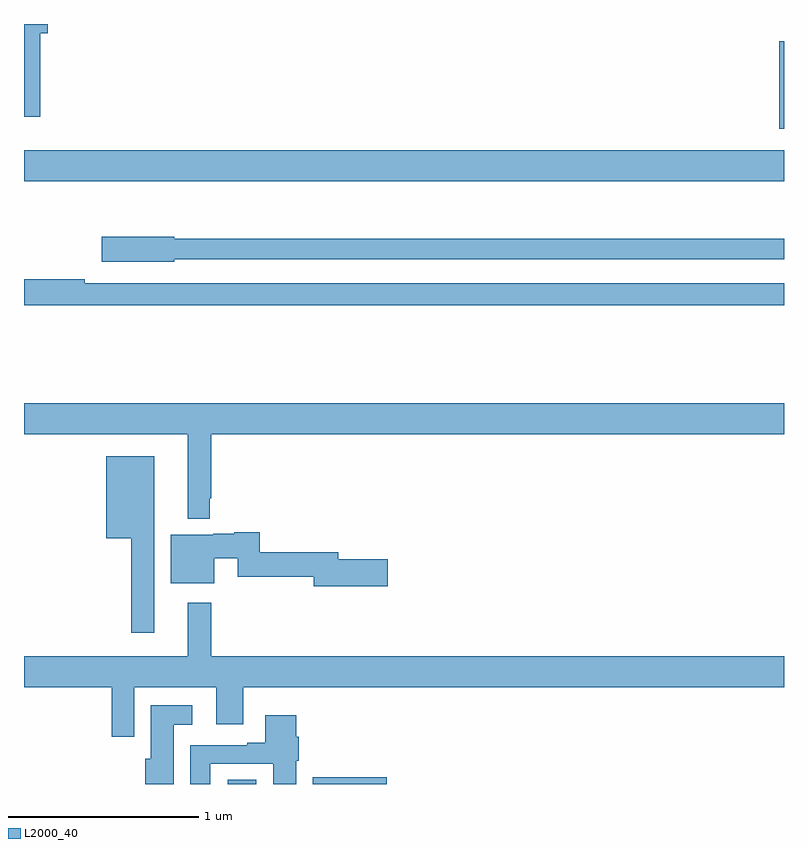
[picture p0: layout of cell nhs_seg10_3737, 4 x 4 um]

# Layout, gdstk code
import gdstk
lib = gdstk.Library(unit=1e-6, precision=1e-09)
def R(c, l, rs):  # rectangles x0, y0, x1, y1
    for r in rs: c.add(gdstk.rectangle(r[:2], r[2:], *l))
def P(c, l, *ps):  # polygons
    for p in ps: c.add(gdstk.Polygon(p, *l))
L2000_40 = (2000, 40)

nhs_seg10_3737 = lib.new_cell('nhs_seg10_3737')
R(nhs_seg10_3737, L2000_40, [(316.073,1274.5,316.222,1274.522), (316.521,1274.5,316.909,1274.535), (315,1277.672,319,1277.836), (318.974,1277.949,319,1278.409)])
P(nhs_seg10_3737, L2000_40, [(315.086,1278.452),(315.125,1278.452),(315.125,1278.5),(315,1278.5),(315,1278.012),(315.086,1278.012)],
  [(315.792,1277.262),(319,1277.262),(319,1277.371),(315.792,1277.371),(315.792,1277.379),(315.408,1277.379),(315.408,1277.249),(315.792,1277.249)],
  [(319,1277.136),(315.32,1277.136),(315.32,1277.156),(315,1277.156),(315,1277.02),(319,1277.02)],
  [(315.978,1276.003),(315.985,1276.003),(315.985,1276.34),(319,1276.34),(319,1276.504),(315,1276.504),(315,1276.34),(315.863,1276.34),(315.863,1275.896),(315.978,1275.896)],
  [(315.685,1276.225),(315.434,1276.225),(315.434,1275.794),(315.564,1275.794),(315.564,1275.297),(315.685,1275.297)],
  [(316.915,1275.683),(316.654,1275.683),(316.654,1275.719),(316.241,1275.719),(316.241,1275.824),(316.107,1275.824),(316.107,1275.817),(315.996,1275.817),(315.996,1275.811),(315.773,1275.811),(315.773,1275.557),(316,1275.557),(316,1275.688),(316.125,1275.688),(316.125,1275.591),(316.526,1275.591),(316.526,1275.541),(316.915,1275.541)],
  [(315.579,1275.008),(316.013,1275.008),(316.013,1274.814),(316.153,1274.814),(316.153,1275.008),(319,1275.008),(319,1275.172),(315.985,1275.172),(315.985,1275.454),(315.863,1275.454),(315.863,1275.172),(315,1275.172),(315,1275.008),(315.463,1275.008),(315.463,1274.748),(315.579,1274.748)],
  [(315.787,1274.813),(315.886,1274.813),(315.886,1274.914),(315.668,1274.914),(315.668,1274.634),(315.638,1274.634),(315.638,1274.5),(315.787,1274.5)],
  [(315.979,1274.607),(316.313,1274.607),(316.313,1274.5),(316.432,1274.5),(316.432,1274.623),(316.445,1274.623),(316.445,1274.75),(316.432,1274.75),(316.432,1274.863),(316.271,1274.863),(316.271,1274.716),(316.175,1274.716),(316.175,1274.703),(315.875,1274.703),(315.875,1274.5),(315.979,1274.5)])

lib.write_gds('nhs_seg10_3737.gds')
